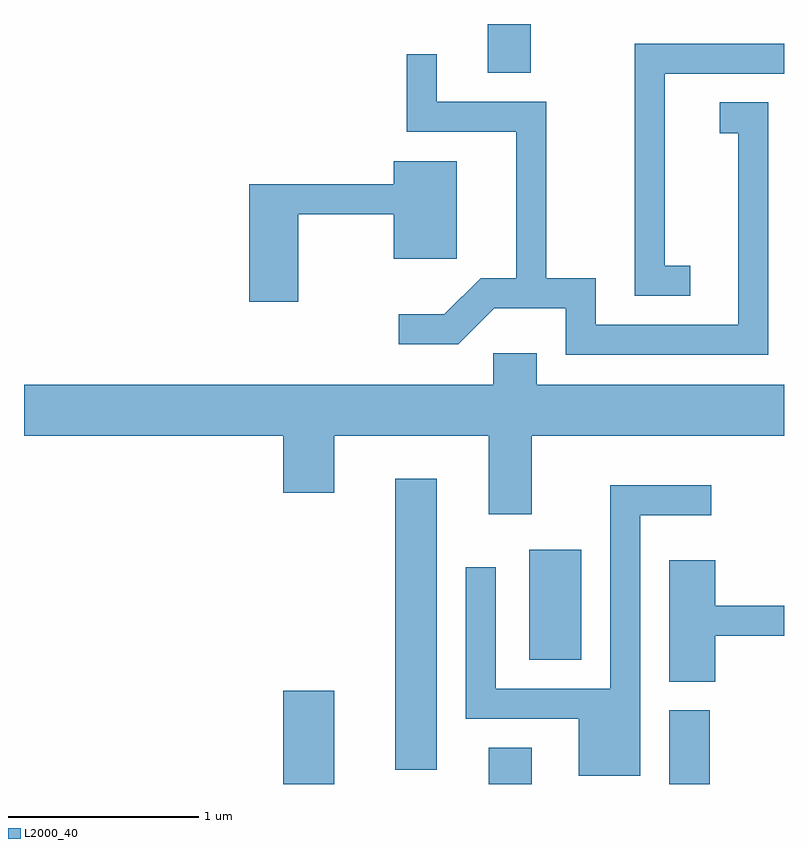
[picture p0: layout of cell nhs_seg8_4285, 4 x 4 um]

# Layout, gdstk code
import gdstk
lib = gdstk.Library(unit=1e-6, precision=1e-09)
def R(c, l, rs):  # rectangles x0, y0, x1, y1
    for r in rs: c.add(gdstk.rectangle(r[:2], r[2:], *l))
def P(c, l, *ps):  # polygons
    for p in ps: c.add(gdstk.Polygon(p, *l))
L2000_40 = (2000, 40)

nhs_seg8_4285 = lib.new_cell('nhs_seg8_4285')
R(nhs_seg8_4285, L2000_40, [(314.976,1852.342,315.244,1852.834), (316.056,1852.342,316.284,1852.534), (317.006,1852.342,317.219,1852.729), (315.566,1852.416,315.784,1853.949), (316.271,1852.996,316.544,1853.574), (316.051,1856.086,316.279,1856.342)])
P(nhs_seg8_4285, L2000_40, [(317.118,1855.069),(316.984,1855.069),(316.984,1856.081),(317.611,1856.081),(317.611,1856.239),(316.826,1856.239),(316.826,1854.911),(317.118,1854.911)],
  [(317.529,1855.929),(317.273,1855.929),(317.273,1855.766),(317.371,1855.766),(317.371,1854.759),(316.619,1854.759),(316.619,1855.004),(316.359,1855.004),(316.359,1855.934),(315.784,1855.934),(315.784,1856.183),(315.626,1856.183),(315.626,1855.776),(316.201,1855.776),(316.201,1855.004),(316.014,1855.004),(315.824,1854.814),(315.583,1854.814),(315.583,1854.656),(315.897,1854.656),(316.087,1854.846),(316.461,1854.846),(316.461,1854.601),(317.529,1854.601)],
  [(315.054,1855.341),(315.556,1855.341),(315.556,1855.106),(315.889,1855.106),(315.889,1855.619),(315.556,1855.619),(315.556,1855.499),(314.796,1855.499),(314.796,1854.881),(315.054,1854.881)],
  [(316.284,1854.176),(317.611,1854.176),(317.611,1854.444),(316.309,1854.444),(316.309,1854.609),(316.081,1854.609),(316.081,1854.444),(313.611,1854.444),(313.611,1854.176),(314.976,1854.176),(314.976,1853.876),(315.244,1853.876),(315.244,1854.176),(316.056,1854.176),(316.056,1853.761),(316.284,1853.761)],
  [(316.854,1853.756),(317.228,1853.756),(317.228,1853.914),(316.696,1853.914),(316.696,1852.844),(316.094,1852.844),(316.094,1853.483),(315.936,1853.483),(315.936,1852.686),(316.531,1852.686),(316.531,1852.386),(316.854,1852.386)],
  [(317.249,1853.121),(317.611,1853.121),(317.611,1853.279),(317.249,1853.279),(317.249,1853.519),(317.006,1853.519),(317.006,1852.881),(317.249,1852.881)])

lib.write_gds('nhs_seg8_4285.gds')
